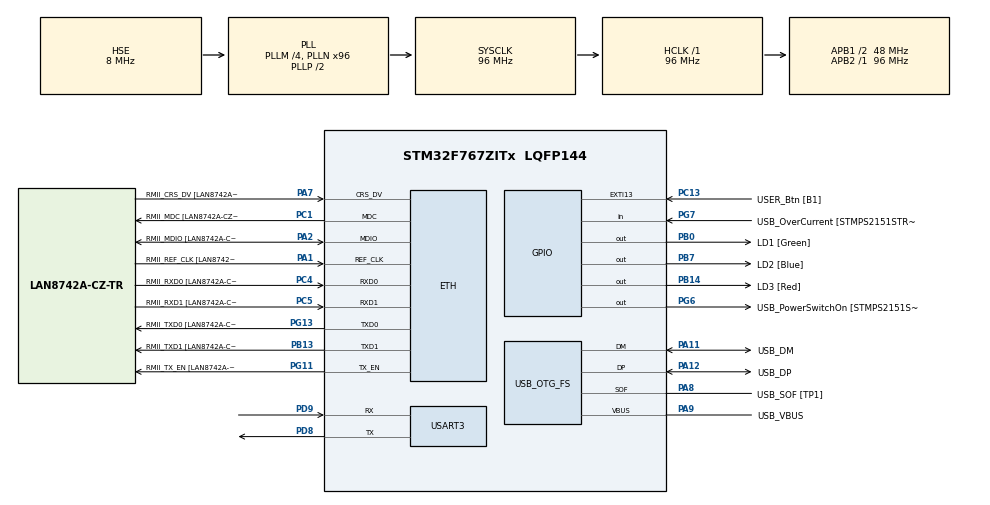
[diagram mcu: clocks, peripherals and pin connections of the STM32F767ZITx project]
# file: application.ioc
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ETH.MediaInterface=HAL_ETH_RMII_MODE
ETH.PHY_Name=LAN8742A_PHY_ADDRESS
ETH.PHY_Value=0
ETH.PhyAddress=0
Mcu.Family=STM32F7
Mcu.Name=STM32F767ZITx
Mcu.Package=LQFP144
NVIC.PriorityGroup=NVIC_PRIORITYGROUP_4
NVIC.USART3_IRQn=true\:0\:0\:false\:false\:true\:true\:true\:true
PA1.GPIO_Label=RMII_REF_CLK [LAN8742A-CZ-TR_REFCLK0]
PA1.Mode=RMII
PA1.Signal=ETH_REF_CLK
PA10.GPIO_Label=USB_ID
PA10.Signal=USB_OTG_FS_ID
PA11.GPIO_Label=USB_DM
PA11.Mode=Device_Only
PA11.Signal=USB_OTG_FS_DM
PA12.GPIO_Label=USB_DP
PA12.Mode=Device_Only
PA12.Signal=USB_OTG_FS_DP
PA13.GPIO_Label=TMS
PA13.Mode=Serial_Wire
PA13.Signal=SYS_JTMS-SWDIO
PA14.GPIO_Label=TCK
PA14.Mode=Serial_Wire
PA14.Signal=SYS_JTCK-SWCLK
PA2.GPIO_Label=RMII_MDIO [LAN8742A-CZ-TR_MDIO]
PA2.Mode=RMII
PA2.Signal=ETH_MDIO
PA7.GPIO_Label=RMII_CRS_DV [LAN8742A-CZ-TR_CRS_DV]
PA7.Mode=RMII
PA7.Signal=ETH_CRS_DV
PA8.GPIO_Label=USB_SOF [TP1]
PA8.Mode=Activate_SOF_FS
PA8.Signal=USB_OTG_FS_SOF
PA9.GPIO_Label=USB_VBUS
PA9.Mode=Activate_VBUS
PA9.Signal=USB_OTG_FS_VBUS
PB0.GPIO_Label=LD1 [Green]
PB0.Signal=GPIO_Output
PB13.GPIO_Label=RMII_TXD1 [LAN8742A-CZ-TR_TXD1]
PB13.Mode=RMII
PB13.Signal=ETH_TXD1
PB14.GPIO_Label=LD3 [Red]
PB14.Signal=GPIO_Output
PB3.GPIO_Label=SWO
PB3.Signal=SYS_JTDO-SWO
PB7.GPIO_Label=LD2 [Blue]
PB7.Signal=GPIO_Output
PC1.GPIO_Label=RMII_MDC [LAN8742A-CZ-TR_MDC]
PC1.Mode=RMII
PC1.Signal=ETH_MDC
PC13.GPIO_Label=USER_Btn [B1]
PC13.Signal=GPXTI13
PC14/OSC32_IN.Mode=LSE-External-Oscillator
PC14/OSC32_IN.Signal=RCC_OSC32_IN
PC15/OSC32_OUT.Mode=LSE-External-Oscillator
PC15/OSC32_OUT.Signal=RCC_OSC32_OUT
PC4.GPIO_Label=RMII_RXD0 [LAN8742A-CZ-TR_RXD0]
PC4.Mode=RMII
PC4.Signal=ETH_RXD0
PC5.GPIO_Label=RMII_RXD1 [LAN8742A-CZ-TR_RXD1]
PC5.Mode=RMII
PC5.Signal=ETH_RXD1
PD8.Mode=Asynchronous
PD8.Signal=USART3_TX
PD9.Mode=Asynchronous
PD9.Signal=USART3_RX
PG11.GPIO_Label=RMII_TX_EN [LAN8742A-CZ-TR_TXEN]
PG11.Mode=RMII
PG11.Signal=ETH_TX_EN
PG13.GPIO_Label=RMII_TXD0 [LAN8742A-CZ-TR_TXD0]
PG13.Mode=RMII
PG13.Signal=ETH_TXD0
PG6.GPIO_Label=USB_PowerSwitchOn [STMPS2151STR_EN]
PG6.Signal=GPIO_Output
PG7.GPIO_Label=USB_OverCurrent [STMPS2151STR_FAULT]
PG7.Signal=GPIO_Input
PH0/OSC_IN.GPIO_Label=MCO [STM32F103CBT6_PA8]
PH0/OSC_IN.Mode=HSE-External-Clock-Source
PH0/OSC_IN.Signal=RCC_OSC_IN
PH1/OSC_OUT.Mode=HSE-External-Clock-Source
PH1/OSC_OUT.Signal=RCC_OSC_OUT
ProjectManager.HeapSize=0x200
ProjectManager.StackSize=0x400
ProjectManager.TargetToolchain=STM32CubeIDE
RCC.48MHZClocksFreq_Value=24000000
RCC.AHBFreq_Value=96000000
RCC.APB1CLKDivider=RCC_HCLK_DIV2
RCC.APB1Freq_Value=48000000
RCC.APB1TimFreq_Value=96000000
RCC.APB2Freq_Value=96000000
RCC.APB2TimFreq_Value=96000000
RCC.CortexFreq_Value=96000000
RCC.HCLKFreq_Value=96000000
RCC.HSE_VALUE=8000000
RCC.HSI_VALUE=16000000
RCC.PLLM=4
RCC.PLLMUL=RCC_PLL_MUL9
RCC.PLLN=96
RCC.PLLQ=4
RCC.PRESCALERUSB=RCC_USBCLKSOURCE_PLL_DIV1_5
RCC.SYSCLKFreq_VALUE=96000000
RCC.SYSCLKSource=RCC_SYSCLKSOURCE_PLLCLK
RCC.SYSCLKSourceVirtual=RCC_SYSCLKSOURCE_PLLCLK
RCC.USBFreq_Value=48000000
RCC.VCOOutputFreq_Value=192000000
USART3.VirtualMode-Asynchronous=VM_ASYNC
USB_OTG_FS.VirtualMode=Device_Only
board=NUCLEO-F767ZI

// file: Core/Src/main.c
/* USER CODE BEGIN Header */
/**
  ******************************************************************************
  * @file           : main.c
  * @brief          : Main program body
  ******************************************************************************
  * @attention
  *
  * Copyright (c) 2024 STMicroelectronics.
  * All rights reserved.
  *
  * This software is licensed under terms that can be found in the LICENSE file
  * in the root directory of this software component.
  * If no LICENSE file comes with this software, it is provided AS-IS.
  *
  ******************************************************************************
  */
/* USER CODE END Header */
#include <string.h>
#include <stdio.h>
#include <stdbool.h>

#include "cli/ascii_commands.h"
#include "cli_cfg.h"
#include "cli/cli.h"
#include "main.h"

/* USER CODE BEGIN PD */
#define TX_RX_BUFFER_SIZE 1
/* USER CODE END PD */

#if defined ( __ICCARM__ ) /*!< IAR Compiler */
#pragma location=0x2007c000
ETH_DMADescTypeDef  DMARxDscrTab[ETH_RX_DESC_CNT]; /* Ethernet Rx DMA Descriptors */
#pragma location=0x2007c0a0
ETH_DMADescTypeDef  DMATxDscrTab[ETH_TX_DESC_CNT]; /* Ethernet Tx DMA Descriptors */

#elif defined ( __CC_ARM )  /* MDK ARM Compiler */

__attribute__((at(0x2007c000))) ETH_DMADescTypeDef  DMARxDscrTab[ETH_RX_DESC_CNT]; /* Ethernet Rx DMA Descriptors */
__attribute__((at(0x2007c0a0))) ETH_DMADescTypeDef  DMATxDscrTab[ETH_TX_DESC_CNT]; /* Ethernet Tx DMA Descriptors */

#elif defined ( __GNUC__ ) /* GNU Compiler */

ETH_DMADescTypeDef DMARxDscrTab[ETH_RX_DESC_CNT] __attribute__((section(".RxDecripSection"))); /* Ethernet Rx DMA Descriptors */
ETH_DMADescTypeDef DMATxDscrTab[ETH_TX_DESC_CNT] __attribute__((section(".TxDecripSection")));   /* Ethernet Tx DMA Descriptors */
#endif

ETH_TxPacketConfig TxConfig;

ETH_HandleTypeDef heth;

UART_HandleTypeDef huart3;

PCD_HandleTypeDef hpcd_USB_OTG_FS;

void SystemClock_Config(void);
static void MX_GPIO_Init(void);
static void MX_ETH_Init(void);
static void MX_USART3_UART_Init(void);
static void MX_USB_OTG_FS_PCD_Init(void);
/* USER CODE BEGIN PFP */
static void transmit_complete_callback(UART_HandleTypeDef *huart);
static void receive_complete_callback(UART_HandleTypeDef *huart);
static void echo_received_char(void);
/* USER CODE END PFP */

/* USER CODE BEGIN 0 */
static char send_data[TX_RX_BUFFER_SIZE];
static char receive_data[TX_RX_BUFFER_SIZE];
static volatile bool Char_received = false;
static volatile bool Process_command = false;

/* Command line buffer of this application */
char Cli_receive_buffer[CLI_BUFFER_SIZE];
char Cli_transmit_buffer[CLI_BUFFER_SIZE];
/* USER CODE END 0 */

int main(void)
{

  /* MCU Configuration--------------------------------------------------------*/

  /* Reset of all peripherals, Initializes the Flash interface and the Systick. */
  HAL_Init();

  /* Configure the system clock */
  SystemClock_Config();

  /* Initialize all configured peripherals */
  MX_GPIO_Init();
  MX_ETH_Init();
  MX_USART3_UART_Init();
  MX_USB_OTG_FS_PCD_Init();
  /* USER CODE BEGIN 2 */

  HAL_UART_RegisterCallback(&huart3, HAL_UART_TX_COMPLETE_CB_ID, transmit_complete_callback);
  HAL_UART_RegisterCallback(&huart3, HAL_UART_RX_COMPLETE_CB_ID, receive_complete_callback);
  HAL_UART_Receive_IT(&huart3, (uint8_t *)receive_data, TX_RX_BUFFER_SIZE);

  /* Print start up prompt. */
  sprintf(Cli_transmit_buffer, "%s%s", Cli_start_up_prompt, Cli_new_line_prompt);
  HAL_UART_Transmit_IT(&huart3, (uint8_t const *)Cli_transmit_buffer, strlen(Cli_transmit_buffer));

  /* USER CODE END 2 */

  /* Infinite loop */
  while (1)
  {
	if (Char_received) {
		echo_received_char();
		Char_received = false;
	}

	if (Process_command) {
		process_cli(Cli_receive_buffer, Cli_transmit_buffer, CLI_BUFFER_SIZE);
		HAL_UART_Transmit_IT(&huart3, (uint8_t const *)Cli_transmit_buffer, strlen(Cli_transmit_buffer));
		Process_command = false;
	}
  }
}

void SystemClock_Config(void)
{
  RCC_OscInitTypeDef RCC_OscInitStruct = {0};
  RCC_ClkInitTypeDef RCC_ClkInitStruct = {0};

  /** Configure LSE Drive Capability
  */
  HAL_PWR_EnableBkUpAccess();

  /** Configure the main internal regulator output voltage
  */
  __HAL_RCC_PWR_CLK_ENABLE();
  __HAL_PWR_VOLTAGESCALING_CONFIG(PWR_REGULATOR_VOLTAGE_SCALE3);

  /** Initializes the RCC Oscillators according to the specified parameters
  * in the RCC_OscInitTypeDef structure.
  */
  RCC_OscInitStruct.OscillatorType = RCC_OSCILLATORTYPE_HSE;
  RCC_OscInitStruct.HSEState = RCC_HSE_BYPASS;
  RCC_OscInitStruct.PLL.PLLState = RCC_PLL_ON;
  RCC_OscInitStruct.PLL.PLLSource = RCC_PLLSOURCE_HSE;
  RCC_OscInitStruct.PLL.PLLM = 4;
  RCC_OscInitStruct.PLL.PLLN = 96;
  RCC_OscInitStruct.PLL.PLLP = RCC_PLLP_DIV2;
  RCC_OscInitStruct.PLL.PLLQ = 4;
  RCC_OscInitStruct.PLL.PLLR = 2;
  if (HAL_RCC_OscConfig(&RCC_OscInitStruct) != HAL_OK)
  {
    Error_Handler();
  }

  /** Activate the Over-Drive mode
  */
  if (HAL_PWREx_EnableOverDrive() != HAL_OK)
  {
    Error_Handler();
  }

  /** Initializes the CPU, AHB and APB buses clocks
  */
  RCC_ClkInitStruct.ClockType = RCC_CLOCKTYPE_HCLK|RCC_CLOCKTYPE_SYSCLK
                              |RCC_CLOCKTYPE_PCLK1|RCC_CLOCKTYPE_PCLK2;
  RCC_ClkInitStruct.SYSCLKSource = RCC_SYSCLKSOURCE_PLLCLK;
  RCC_ClkInitStruct.AHBCLKDivider = RCC_SYSCLK_DIV1;
  RCC_ClkInitStruct.APB1CLKDivider = RCC_HCLK_DIV2;
  RCC_ClkInitStruct.APB2CLKDivider = RCC_HCLK_DIV1;

  if (HAL_RCC_ClockConfig(&RCC_ClkInitStruct, FLASH_LATENCY_3) != HAL_OK)
  {
    Error_Handler();
  }
}

static void MX_ETH_Init(void)
{

   static uint8_t MACAddr[6];

  heth.Instance = ETH;
  MACAddr[0] = 0x00;
  MACAddr[1] = 0x80;
  MACAddr[2] = 0xE1;
  MACAddr[3] = 0x00;
  MACAddr[4] = 0x00;
  MACAddr[5] = 0x00;
  heth.Init.MACAddr = &MACAddr[0];
  heth.Init.MediaInterface = HAL_ETH_RMII_MODE;
  heth.Init.TxDesc = DMATxDscrTab;
  heth.Init.RxDesc = DMARxDscrTab;
  heth.Init.RxBuffLen = 1524;

  if (HAL_ETH_Init(&heth) != HAL_OK)
  {
    Error_Handler();
  }

  memset(&TxConfig, 0 , sizeof(ETH_TxPacketConfig));
  TxConfig.Attributes = ETH_TX_PACKETS_FEATURES_CSUM | ETH_TX_PACKETS_FEATURES_CRCPAD;
  TxConfig.ChecksumCtrl = ETH_CHECKSUM_IPHDR_PAYLOAD_INSERT_PHDR_CALC;
  TxConfig.CRCPadCtrl = ETH_CRC_PAD_INSERT;

}

static void MX_USART3_UART_Init(void)
{

  huart3.Instance = USART3;
  huart3.Init.BaudRate = 115200;
  huart3.Init.WordLength = UART_WORDLENGTH_8B;
  huart3.Init.StopBits = UART_STOPBITS_1;
  huart3.Init.Parity = UART_PARITY_NONE;
  huart3.Init.Mode = UART_MODE_TX_RX;
  huart3.Init.HwFlowCtl = UART_HWCONTROL_NONE;
  huart3.Init.OverSampling = UART_OVERSAMPLING_16;
  huart3.Init.OneBitSampling = UART_ONE_BIT_SAMPLE_DISABLE;
  huart3.AdvancedInit.AdvFeatureInit = UART_ADVFEATURE_NO_INIT;
  if (HAL_UART_Init(&huart3) != HAL_OK)
  {
    Error_Handler();
  }

}

static void MX_USB_OTG_FS_PCD_Init(void)
{

  hpcd_USB_OTG_FS.Instance = USB_OTG_FS;
  hpcd_USB_OTG_FS.Init.dev_endpoints = 6;
  hpcd_USB_OTG_FS.Init.speed = PCD_SPEED_FULL;
  hpcd_USB_OTG_FS.Init.dma_enable = DISABLE;
  hpcd_USB_OTG_FS.Init.phy_itface = PCD_PHY_EMBEDDED;
  hpcd_USB_OTG_FS.Init.Sof_enable = ENABLE;
  hpcd_USB_OTG_FS.Init.low_power_enable = DISABLE;
  hpcd_USB_OTG_FS.Init.lpm_enable = DISABLE;
  hpcd_USB_OTG_FS.Init.vbus_sensing_enable = ENABLE;
  hpcd_USB_OTG_FS.Init.use_dedicated_ep1 = DISABLE;
  if (HAL_PCD_Init(&hpcd_USB_OTG_FS) != HAL_OK)
  {
    Error_Handler();
  }

}

static void MX_GPIO_Init(void)
{
  GPIO_InitTypeDef GPIO_InitStruct = {0};

  /* GPIO Ports Clock Enable */
  __HAL_RCC_GPIOC_CLK_ENABLE();
  __HAL_RCC_GPIOH_CLK_ENABLE();
  __HAL_RCC_GPIOA_CLK_ENABLE();
  __HAL_RCC_GPIOB_CLK_ENABLE();
  __HAL_RCC_GPIOD_CLK_ENABLE();
  __HAL_RCC_GPIOG_CLK_ENABLE();

  /*Configure GPIO pin Output Level */
  HAL_GPIO_WritePin(GPIOB, LD1_Pin|LD3_Pin|LD2_Pin, GPIO_PIN_RESET);

  /*Configure GPIO pin Output Level */
  HAL_GPIO_WritePin(USB_PowerSwitchOn_GPIO_Port, USB_PowerSwitchOn_Pin, GPIO_PIN_RESET);

  /*Configure GPIO pin : USER_Btn_Pin */
  GPIO_InitStruct.Pin = USER_Btn_Pin;
  GPIO_InitStruct.Mode = GPIO_MODE_IT_RISING;
  GPIO_InitStruct.Pull = GPIO_NOPULL;
  HAL_GPIO_Init(USER_Btn_GPIO_Port, &GPIO_InitStruct);

  /*Configure GPIO pins : LD1_Pin LD3_Pin LD2_Pin */
  GPIO_InitStruct.Pin = LD1_Pin|LD3_Pin|LD2_Pin;
  GPIO_InitStruct.Mode = GPIO_MODE_OUTPUT_PP;
  GPIO_InitStruct.Pull = GPIO_NOPULL;
  GPIO_InitStruct.Speed = GPIO_SPEED_FREQ_LOW;
  HAL_GPIO_Init(GPIOB, &GPIO_InitStruct);

  /*Configure GPIO pin : USB_PowerSwitchOn_Pin */
  GPIO_InitStruct.Pin = USB_PowerSwitchOn_Pin;
  GPIO_InitStruct.Mode = GPIO_MODE_OUTPUT_PP;
  GPIO_InitStruct.Pull = GPIO_NOPULL;
  GPIO_InitStruct.Speed = GPIO_SPEED_FREQ_LOW;
  HAL_GPIO_Init(USB_PowerSwitchOn_GPIO_Port, &GPIO_InitStruct);

  /*Configure GPIO pin : USB_OverCurrent_Pin */
  GPIO_InitStruct.Pin = USB_OverCurrent_Pin;
  GPIO_InitStruct.Mode = GPIO_MODE_INPUT;
  GPIO_InitStruct.Pull = GPIO_NOPULL;
  HAL_GPIO_Init(USB_OverCurrent_GPIO_Port, &GPIO_InitStruct);

}

/* USER CODE BEGIN 4 */
static void receive_complete_callback(UART_HandleTypeDef *huart)
{
	static uint32_t receive_data_count = 0U;
	if ('\r' == receive_data[0]) {
		receive_data_count = 0U;
		Process_command = true;
	} else {
		Cli_receive_buffer[receive_data_count++] = receive_data[0];
		Char_received = true;
	}

	memcpy(send_data, receive_data, TX_RX_BUFFER_SIZE);
	memset(receive_data, '\0', TX_RX_BUFFER_SIZE);
	HAL_UART_Receive_IT(&huart3, (uint8_t *)receive_data, TX_RX_BUFFER_SIZE);

	return;
}

static void transmit_complete_callback(UART_HandleTypeDef *huart)
{
	if ('\r' == send_data[0])
	{
		memset(send_data, '\0', TX_RX_BUFFER_SIZE);
		sprintf(Cli_transmit_buffer, "%s%s", CHAR_NEW_LINE, Cli_new_line_prompt);
		HAL_UART_Transmit_IT(&huart3, (uint8_t const *)Cli_transmit_buffer, strlen(Cli_transmit_buffer));
	}
	return;
}

static void echo_received_char(void)
{
	if ('\b' == send_data[0]) {
	   // Send SPACE if BACKSPACE is received.
	   HAL_UART_Transmit_IT(&huart3, (uint8_t const *)CHAR_BACKSPACE, strlen(CHAR_BACKSPACE));
	} else {
	   HAL_UART_Transmit_IT(&huart3, (uint8_t const *)send_data, TX_RX_BUFFER_SIZE);
	}

	return;
}
/* USER CODE END 4 */

void Error_Handler(void)
{
  __disable_irq();
  while (1)
  {
  }
}
